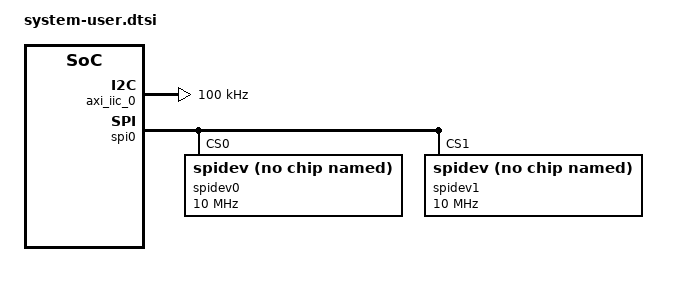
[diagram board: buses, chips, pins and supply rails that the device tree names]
/include/ "system-conf.dtsi"
/ {
};

&axi_iic_0 {
    clock-frequency = <100000>;
    status = "okay";
};

&spi0 {
    status = "okay";
    num-cs = <2>;

    spidev0: spidev@0 {
        compatible = "spidev";
        reg = <0>;                      /* CS0 */
        spi-max-frequency = <10000000>; /* MCP4911 allows up to 20 MHz */
    };

    spidev1: spidev@1 {
        compatible = "spidev";
        reg = <1>;                      /* CS1 */
        spi-max-frequency = <10000000>; /* MCP4911 allows up to 20 MHz */
    };
};
